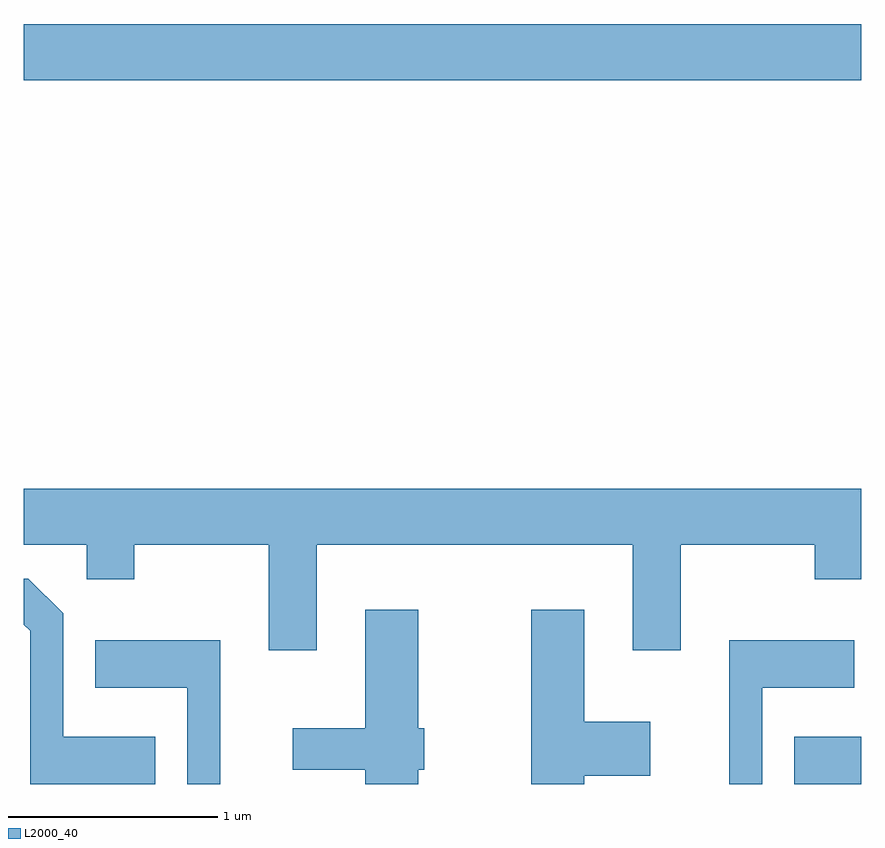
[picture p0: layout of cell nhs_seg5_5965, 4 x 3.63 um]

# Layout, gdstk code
import gdstk
lib = gdstk.Library(unit=1e-6, precision=1e-09)
def R(c, l, rs):  # rectangles x0, y0, x1, y1
    for r in rs: c.add(gdstk.rectangle(r[:2], r[2:], *l))
def P(c, l, *ps):  # polygons
    for p in ps: c.add(gdstk.Polygon(p, *l))
L2000_40 = (2000, 40)

nhs_seg5_5965 = lib.new_cell('nhs_seg5_5965')
R(nhs_seg5_5965, L2000_40, [(365.291,1480.072,365.611,1480.299), (361.611,1483.436,365.611,1483.704)])
P(nhs_seg5_5965, L2000_40, [(363.009,1481.216),(364.521,1481.216),(364.521,1480.711),(364.749,1480.711),(364.749,1481.216),(365.391,1481.216),(365.391,1481.051),(365.611,1481.051),(365.611,1481.484),(361.611,1481.484),(361.611,1481.216),(361.911,1481.216),(361.911,1481.051),(362.139,1481.051),(362.139,1481.216),(362.781,1481.216),(362.781,1480.711),(363.009,1480.711)],
  [(362.239,1480.299),(361.799,1480.299),(361.799,1480.887),(361.632,1481.054),(361.611,1481.054),(361.611,1480.834),(361.641,1480.804),(361.641,1480.072),(362.239,1480.072)],
  [(363.494,1480.141),(363.524,1480.141),(363.524,1480.339),(363.494,1480.339),(363.494,1480.904),(363.241,1480.904),(363.241,1480.339),(362.896,1480.339),(362.896,1480.141),(363.241,1480.141),(363.241,1480.072),(363.494,1480.072)],
  [(364.289,1480.111),(364.604,1480.111),(364.604,1480.369),(364.289,1480.369),(364.289,1480.904),(364.036,1480.904),(364.036,1480.072),(364.289,1480.072)],
  [(362.549,1480.759),(361.951,1480.759),(361.951,1480.531),(362.391,1480.531),(362.391,1480.072),(362.549,1480.072)],
  [(365.139,1480.531),(365.579,1480.531),(365.579,1480.759),(364.981,1480.759),(364.981,1480.072),(365.139,1480.072)])

lib.write_gds('nhs_seg5_5965.gds')
